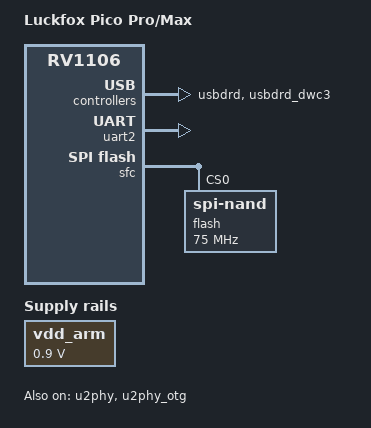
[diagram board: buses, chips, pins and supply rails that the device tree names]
// SPDX-License-Identifier: (GPL-2.0+ OR MIT)
/*
 * Copyright (c) 2022 Rockchip Electronics Co., Ltd.
 */

/dts-v1/;

#include "rv1106.dtsi"

/ {
	model = "Luckfox Pico Pro/Max";
	compatible = "luckfox,rv1106-pico-pro-max", "rockchip,rv1106";

	chosen {
		stdout-path = "serial2:115200n8";
	};

	vdd_arm: vdd-arm {
		compatible = "regulator-fixed";
		regulator-name = "vdd_arm";
		regulator-always-on;
		regulator-boot-on;
		regulator-min-microvolt = <900000>;
		regulator-max-microvolt = <900000>;
	};
};

&cpu0 {
	cpu-supply = <&vdd_arm>;
};

&cpu0_opp_table {
		/delete-node/ opp-1200000000;
		/delete-node/ opp-1296000000;
		/delete-node/ opp-1416000000;
		/delete-node/ opp-1512000000;
		/delete-node/ opp-1608000000;
};

&u2phy {
	status = "okay";
};

&u2phy_otg {
	status = "okay";
};

&usbdrd {
	status = "okay";
};

&usbdrd_dwc3 {
	status = "okay";
	extcon = <&u2phy>;
	usb-role-switch;
};

&uart2 {
	pinctrl-0 = <&uart2m1_xfer>;
	status = "okay";
};

&sfc {
	pinctrl-0 = <&fspi_cs0 &fspi_pins>;
	pinctrl-names = "default";
	status = "okay";

	flash@0 {
		compatible = "spi-nand";
		reg = <0>;
		spi-max-frequency = <75000000>;
		spi-rx-bus-width = <4>;
		spi-tx-bus-width = <1>;
	};
};
